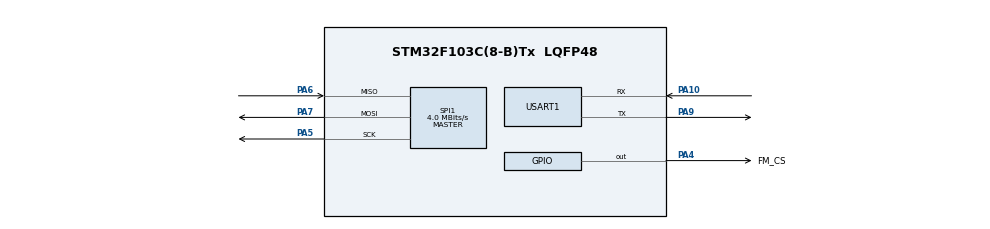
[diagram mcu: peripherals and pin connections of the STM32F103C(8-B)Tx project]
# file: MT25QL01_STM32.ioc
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Mcu.Family=STM32F1
Mcu.Name=STM32F103C(8-B)Tx
Mcu.Package=LQFP48
NVIC.PriorityGroup=NVIC_PRIORITYGROUP_4
PA10.Mode=Asynchronous
PA10.Signal=USART1_RX
PA13.Mode=Serial_Wire
PA13.Signal=SYS_JTMS-SWDIO
PA14.Mode=Serial_Wire
PA14.Signal=SYS_JTCK-SWCLK
PA4.GPIO_Label=FM_CS
PA4.Signal=GPIO_Output
PA5.Mode=Full_Duplex_Master
PA5.Signal=SPI1_SCK
PA6.Mode=Full_Duplex_Master
PA6.Signal=SPI1_MISO
PA7.Mode=Full_Duplex_Master
PA7.Signal=SPI1_MOSI
PA9.Mode=Asynchronous
PA9.Signal=USART1_TX
ProjectManager.HeapSize=0x200
ProjectManager.StackSize=0x400
ProjectManager.TargetToolchain=STM32CubeIDE
RCC.APB1Freq_Value=8000000
RCC.APB2Freq_Value=8000000
SPI1.CalculateBaudRate=4.0 MBits/s
SPI1.Direction=SPI_DIRECTION_2LINES
SPI1.Mode=SPI_MODE_MASTER
SPI1.VirtualType=VM_MASTER
USART1.VirtualMode=VM_ASYNC
board=custom

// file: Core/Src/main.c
/* USER CODE BEGIN Header */
/**
 ******************************************************************************
 * @file           : main.c
 * @brief          : Main program body
 ******************************************************************************
 * @attention
 *
 * Copyright (c) 2024 STMicroelectronics.
 * All rights reserved.
 *
 * This software is licensed under terms that can be found in the LICENSE file
 * in the root directory of this software component.
 * If no LICENSE file comes with this software, it is provided AS-IS.
 *
 ******************************************************************************
 */
/* USER CODE END Header */
#include "main.h"

/* USER CODE BEGIN Includes */
#include "stdarg.h"
#include "MT25QL.h"
/* USER CODE END Includes */

/* USER CODE BEGIN PD */
#define DEBUG_STREAM	huart1	//debug UART output
#define UART_TX_TIMEOUT_MS	2000
#define DATA_WRITE_ADDRESS	0x00000000	//data read/write/erase location in flash
/* USER CODE END PD */

SPI_HandleTypeDef hspi1;

UART_HandleTypeDef huart1;

/* USER CODE BEGIN PV */
DEVICE_ID dev_id;
/* USER CODE END PV */

void SystemClock_Config(void);
static void MX_GPIO_Init(void);
static void MX_SPI1_Init(void);
static void MX_USART1_UART_Init(void);
/* USER CODE BEGIN PFP */
void myprintf(const char *fmt, ...);
/* USER CODE END PFP */

/* USER CODE BEGIN 0 */
uint8_t fm_rx_buff[100] = {'\0'};
uint8_t fm_tx_buff[100] = "Hello world...\n Testing data write to flash memory\n";
/* USER CODE END 0 */

int main(void)
{

  /* MCU Configuration--------------------------------------------------------*/

  /* Reset of all peripherals, Initializes the Flash interface and the Systick. */
  HAL_Init();

  /* Configure the system clock */
  SystemClock_Config();

  /* Initialize all configured peripherals */
  MX_GPIO_Init();
  MX_SPI1_Init();
  MX_USART1_UART_Init();
  /* USER CODE BEGIN 2 */

	myprintf("Reading ID of MT25QL01GBBBES Flash Memory\n");

	Read_ID(&hspi1, &dev_id);

	myprintf("FM Device Info ............\r\n");
	myprintf("Device ID: %x\r\n", dev_id.MAN_ID);
	myprintf("Memory Capacity: %x\r\n", dev_id.M_CAP);
	myprintf("Memory type:%x\r\n", dev_id.M_TYPE);
	myprintf("Device Info: %x\r\n", dev_id.DEV_INFO);
	myprintf("Extended ID: %x\r\n", dev_id.EXT_ID);
	myprintf("Device Memory Type: %x\r\n", dev_id.M_CAP);
	myprintf("Remaining Bytes: %x\r\n", dev_id.REM_BYTES);
	myprintf("UID: %x\r\n");
	for (int i = 0; i < 14; i++) {
		myprintf("%x", dev_id.UID[i]);
	}

	myprintf("writing %s data in %x location of flash memory\n",(char * )fm_tx_buff, DATA_WRITE_ADDRESS);
	Page_Write_4B(&hspi1, DATA_WRITE_ADDRESS, fm_tx_buff, strlen((char *)fm_tx_buff));
	myprintf("Reading %d bytes of data from %x location\n",strlen((char *)fm_tx_buff), DATA_WRITE_ADDRESS);
	Bulk_Read_4B(&hspi1, DATA_WRITE_ADDRESS, fm_rx_buff, strlen((char *)fm_tx_buff));
	myprintf("Data from flash memory: %s\n",(char *)fm_rx_buff);
  /* USER CODE END 2 */

  /* Infinite loop */
	while (1) {

	}
}

void SystemClock_Config(void)
{
  RCC_OscInitTypeDef RCC_OscInitStruct = {0};
  RCC_ClkInitTypeDef RCC_ClkInitStruct = {0};

  /** Initializes the RCC Oscillators according to the specified parameters
  * in the RCC_OscInitTypeDef structure.
  */
  RCC_OscInitStruct.OscillatorType = RCC_OSCILLATORTYPE_HSI;
  RCC_OscInitStruct.HSIState = RCC_HSI_ON;
  RCC_OscInitStruct.HSICalibrationValue = RCC_HSICALIBRATION_DEFAULT;
  RCC_OscInitStruct.PLL.PLLState = RCC_PLL_NONE;
  if (HAL_RCC_OscConfig(&RCC_OscInitStruct) != HAL_OK)
  {
    Error_Handler();
  }

  /** Initializes the CPU, AHB and APB buses clocks
  */
  RCC_ClkInitStruct.ClockType = RCC_CLOCKTYPE_HCLK|RCC_CLOCKTYPE_SYSCLK
                              |RCC_CLOCKTYPE_PCLK1|RCC_CLOCKTYPE_PCLK2;
  RCC_ClkInitStruct.SYSCLKSource = RCC_SYSCLKSOURCE_HSI;
  RCC_ClkInitStruct.AHBCLKDivider = RCC_SYSCLK_DIV1;
  RCC_ClkInitStruct.APB1CLKDivider = RCC_HCLK_DIV1;
  RCC_ClkInitStruct.APB2CLKDivider = RCC_HCLK_DIV1;

  if (HAL_RCC_ClockConfig(&RCC_ClkInitStruct, FLASH_LATENCY_0) != HAL_OK)
  {
    Error_Handler();
  }
}

static void MX_SPI1_Init(void)
{

  /* SPI1 parameter configuration*/
  hspi1.Instance = SPI1;
  hspi1.Init.Mode = SPI_MODE_MASTER;
  hspi1.Init.Direction = SPI_DIRECTION_2LINES;
  hspi1.Init.DataSize = SPI_DATASIZE_8BIT;
  hspi1.Init.CLKPolarity = SPI_POLARITY_LOW;
  hspi1.Init.CLKPhase = SPI_PHASE_1EDGE;
  hspi1.Init.NSS = SPI_NSS_SOFT;
  hspi1.Init.BaudRatePrescaler = SPI_BAUDRATEPRESCALER_2;
  hspi1.Init.FirstBit = SPI_FIRSTBIT_MSB;
  hspi1.Init.TIMode = SPI_TIMODE_DISABLE;
  hspi1.Init.CRCCalculation = SPI_CRCCALCULATION_DISABLE;
  hspi1.Init.CRCPolynomial = 10;
  if (HAL_SPI_Init(&hspi1) != HAL_OK)
  {
    Error_Handler();
  }

}

static void MX_USART1_UART_Init(void)
{

  huart1.Instance = USART1;
  huart1.Init.BaudRate = 115200;
  huart1.Init.WordLength = UART_WORDLENGTH_8B;
  huart1.Init.StopBits = UART_STOPBITS_1;
  huart1.Init.Parity = UART_PARITY_NONE;
  huart1.Init.Mode = UART_MODE_TX_RX;
  huart1.Init.HwFlowCtl = UART_HWCONTROL_NONE;
  huart1.Init.OverSampling = UART_OVERSAMPLING_16;
  if (HAL_UART_Init(&huart1) != HAL_OK)
  {
    Error_Handler();
  }

}

static void MX_GPIO_Init(void)
{
  GPIO_InitTypeDef GPIO_InitStruct = {0};

  /* GPIO Ports Clock Enable */
  __HAL_RCC_GPIOA_CLK_ENABLE();

  /*Configure GPIO pin Output Level */
  HAL_GPIO_WritePin(FM_CS_GPIO_Port, FM_CS_Pin, GPIO_PIN_RESET);

  /*Configure GPIO pin : FM_CS_Pin */
  GPIO_InitStruct.Pin = FM_CS_Pin;
  GPIO_InitStruct.Mode = GPIO_MODE_OUTPUT_PP;
  GPIO_InitStruct.Pull = GPIO_NOPULL;
  GPIO_InitStruct.Speed = GPIO_SPEED_FREQ_LOW;
  HAL_GPIO_Init(FM_CS_GPIO_Port, &GPIO_InitStruct);

}

/* USER CODE BEGIN 4 */

/*
 * @brief	Outputs the string data to the PC, via USB CDC
 *
 * @param	fmt	pointer the array of characters data to be transmitted
 *
 * @retval	none
 */
void myprintf(const char *fmt, ...) {
	static char temp[100];
	va_list args;
	va_start(args, fmt);
	vsnprintf(temp, sizeof(temp), fmt, args);
	va_end(args);
	int len = strlen(temp);

	uint32_t current_tick = HAL_GetTick();
	while (HAL_UART_GetState(&DEBUG_STREAM) == HAL_UART_STATE_BUSY_TX) {
		if (HAL_GetTick() - current_tick > UART_TX_TIMEOUT_MS) {
			break;
		}
	}
	HAL_UART_Transmit(&DEBUG_STREAM, (uint8_t*) temp, len,
			len * 12 / 9600 + 50);	//no of bytes * 12 / baud rate + buffer time
}
/* USER CODE END 4 */

void Error_Handler(void)
{
	__disable_irq();
	while (1) {
	}
}
